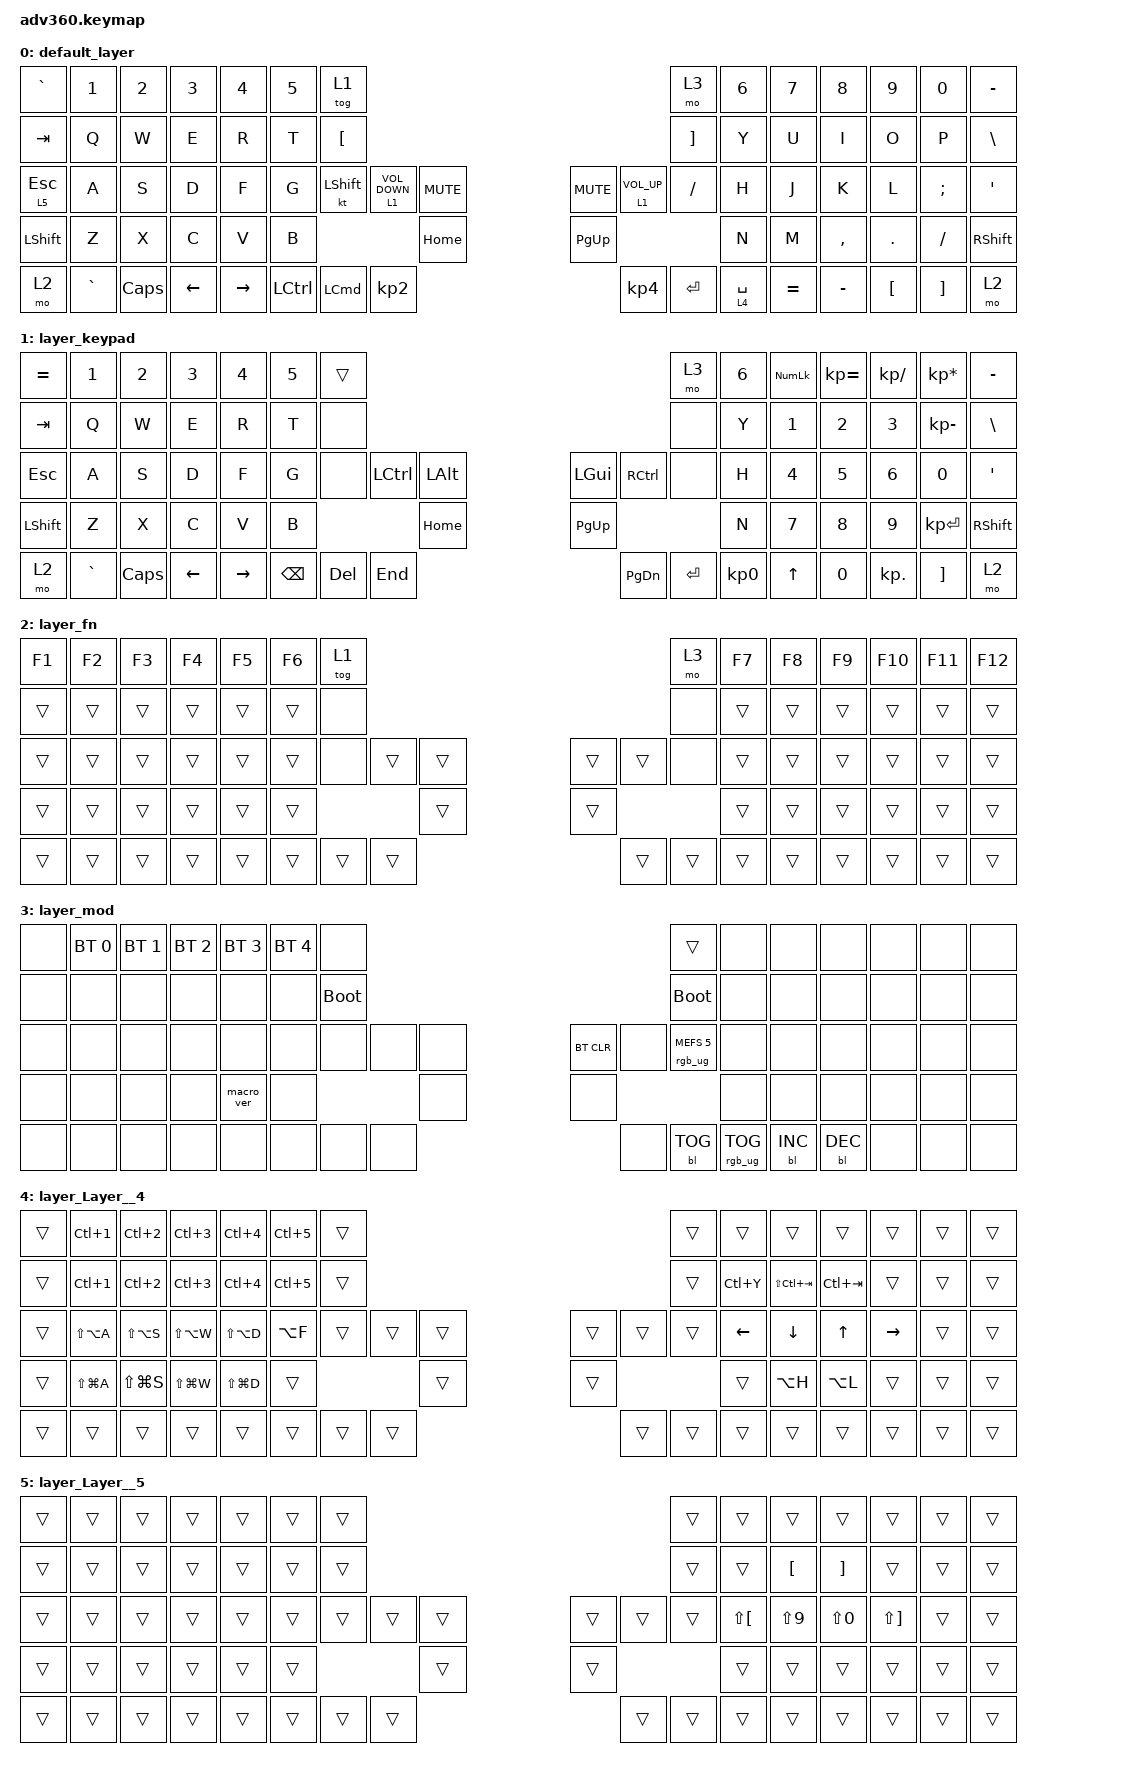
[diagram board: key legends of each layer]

/*
 * Copyright (c) 2020 The ZMK Contributors
 *
 * SPDX-License-Identifier: MIT
 */


/* THIS FILE WAS GENERATED!
 *
 * This file was generated automatically. You may or may not want to
 * edit it directly.
 */

#include <behaviors.dtsi>
#include <dt-bindings/zmk/keys.h>
#include <dt-bindings/zmk/keys.h>
#include <dt-bindings/zmk/bt.h>
#include <dt-bindings/zmk/rgb.h>
#include <dt-bindings/zmk/backlight.h>

/ {
  behaviors {
    #include "macros.dtsi"
    #include "version.dtsi"

    hm: homerow_mods {
        compatible = "zmk,behavior-hold-tap";
        label = "HOMEROW_MODS";
        #binding-cells = <2>;
        tapping-term-ms = <200>;
        quick_tap_ms = <175>;
        flavor = "tap-preferred";
        bindings = <&kp>, <&kp>;
    };
  };

    keymap {
        compatible = "zmk,keymap";


        default_layer {
            bindings = <
 &kp GRAVE     &kp N1    &kp N2    &kp N3     &kp N4  &kp N5               &tog 1                                                                                        &mo 3  &kp N6     &kp N7     &kp N8    &kp N9    &kp N0  &kp MINUS
   &kp TAB      &kp Q     &kp W     &kp E      &kp R   &kp T             &kp LBKT                                                                                     &kp RBKT   &kp Y      &kp U      &kp I     &kp O     &kp P   &kp BSLH
 &lt 5 ESC      &kp A     &kp S     &kp D      &kp F   &kp G            &kt LSHFT  &lt 1 C_VOLUME_DOWN  &kp C_MUTE                  &kp C_MUTE  &lt 1 C_VOLUME_UP    &kp SLASH   &kp H      &kp J      &kp K     &kp L  &kp SEMI    &kp SQT
 &kp LSHFT      &kp Z     &kp X     &kp C      &kp V   &kp B                                              &kp HOME                   &kp PG_UP                                   &kp N      &kp M  &kp COMMA   &kp DOT  &kp FSLH  &kp RSHFT
     &mo 2  &kp GRAVE  &kp CAPS  &kp LEFT  &kp RIGHT                    &kp LCTRL     &kp LEFT_COMMAND   &kp KP_N2                   &kp KP_N4          &kp ENTER  &lt 4 SPACE          &kp EQUAL  &kp MINUS  &kp LBKT  &kp RBKT      &mo 2
            >;
        };

        layer_keypad {
            bindings = <
 &kp EQUAL     &kp N1    &kp N2    &kp N3     &kp N4  &kp N5              &trans                                                                 &mo 3  &kp N6  &kp KP_NUM  &kp KP_EQUAL  &kp KP_DIVIDE  &kp KP_MULTIPLY  &kp MINUS
   &kp TAB      &kp Q     &kp W     &kp E      &kp R   &kp T               &none                                                                 &none   &kp Y      &kp N1        &kp N2         &kp N3     &kp KP_MINUS   &kp BSLH
   &kp ESC      &kp A     &kp S     &kp D      &kp F   &kp G               &none  &kp LCTRL  &kp LALT                   &kp LGUI  &kp RCTRL      &none   &kp H      &kp N4        &kp N5         &kp N6           &kp N0    &kp SQT
 &kp LSHFT      &kp Z     &kp X     &kp C      &kp V   &kp B                                 &kp HOME                  &kp PG_UP                         &kp N      &kp N7        &kp N8         &kp N9     &kp KP_ENTER  &kp RSHFT
     &mo 2  &kp GRAVE  &kp CAPS  &kp LEFT  &kp RIGHT                    &kp BSPC    &kp DEL   &kp END                  &kp PG_DN  &kp ENTER  &kp KP_N0              &kp UP        &kp N0     &kp KP_DOT         &kp RBKT      &mo 2
            >;
        };

        layer_fn {
            bindings = <
 &kp F1  &kp F2  &kp F3  &kp F4  &kp F5  &kp F6            &tog 1                                                   &mo 3  &kp F7  &kp F8  &kp F9  &kp F10  &kp F11  &kp F12
 &trans  &trans  &trans  &trans  &trans  &trans             &none                                                   &none  &trans  &trans  &trans   &trans   &trans   &trans
 &trans  &trans  &trans  &trans  &trans  &trans             &none  &trans  &trans                  &trans  &trans   &none  &trans  &trans  &trans   &trans   &trans   &trans
 &trans  &trans  &trans  &trans  &trans  &trans                            &trans                  &trans                  &trans  &trans  &trans   &trans   &trans   &trans
 &trans  &trans  &trans  &trans  &trans                    &trans  &trans  &trans                  &trans  &trans  &trans          &trans  &trans   &trans   &trans   &trans
            >;
        };

        layer_mod {
            bindings = <
  &none  &bt BT_SEL 0  &bt BT_SEL 1  &bt BT_SEL 2  &bt BT_SEL 3  &bt BT_SEL 4                  &none                                                                          &trans   &none       &none       &none   &none   &none   &none
  &none         &none         &none         &none         &none         &none            &bootloader                                                                     &bootloader   &none       &none       &none   &none   &none   &none
  &none         &none         &none         &none         &none         &none                  &none   &none   &none                  &bt BT_CLR       &none  &rgb_ug RGB_MEFS_CMD 5   &none       &none       &none   &none   &none   &none
  &none         &none         &none         &none    &macro_ver         &none                                  &none                       &none                                       &none       &none       &none   &none   &none   &none
  &none         &none         &none         &none         &none                                &none   &none   &none                       &none  &bl BL_TOG         &rgb_ug RGB_TOG          &bl BL_INC  &bl BL_DEC   &none   &none   &none
            >;
        };

        layer_Layer__4 {
            bindings = <
 &trans     &kp LC(N1)     &kp LC(N2)     &kp LC(N3)     &kp LC(N4)  &kp LC(N5)            &trans                                                  &trans          &trans           &trans        &trans           &trans  &trans  &trans
 &trans     &kp LC(N1)     &kp LC(N2)     &kp LC(N3)     &kp LC(N4)  &kp LC(N5)            &trans                                                  &trans       &kp LC(Y)  &kp LS(LC(TAB))   &kp LC(TAB)           &trans  &trans  &trans
 &trans  &kp LS(LA(A))  &kp LS(LA(S))  &kp LS(LA(W))  &kp LS(LA(D))   &kp LA(F)            &trans  &trans  &trans                  &trans  &trans  &trans  &kp LEFT_ARROW   &kp DOWN_ARROW  &kp UP_ARROW  &kp RIGHT_ARROW  &trans  &trans
 &trans  &kp LS(LG(A))  &kp LS(LG(S))  &kp LS(LG(W))  &kp LS(LG(D))      &trans                            &trans                  &trans                          &trans        &kp LA(H)     &kp LA(L)           &trans  &trans  &trans
 &trans         &trans         &trans         &trans         &trans                        &trans  &trans  &trans                  &trans  &trans  &trans                           &trans        &trans           &trans  &trans  &trans
            >;
        };

        layer_Layer__5 {
            bindings = <
 &trans  &trans  &trans  &trans  &trans  &trans            &trans                                                  &trans        &trans      &trans      &trans        &trans  &trans  &trans
 &trans  &trans  &trans  &trans  &trans  &trans            &trans                                                  &trans        &trans    &kp LBKT    &kp RBKT        &trans  &trans  &trans
 &trans  &trans  &trans  &trans  &trans  &trans            &trans  &trans  &trans                  &trans  &trans  &trans  &kp LS(LBKT)  &kp LS(N9)  &kp LS(N0)  &kp LS(RBKT)  &trans  &trans
 &trans  &trans  &trans  &trans  &trans  &trans                            &trans                  &trans                        &trans      &trans      &trans        &trans  &trans  &trans
 &trans  &trans  &trans  &trans  &trans                    &trans  &trans  &trans                  &trans  &trans  &trans                    &trans      &trans        &trans  &trans  &trans
            >;
        };

    };
};
